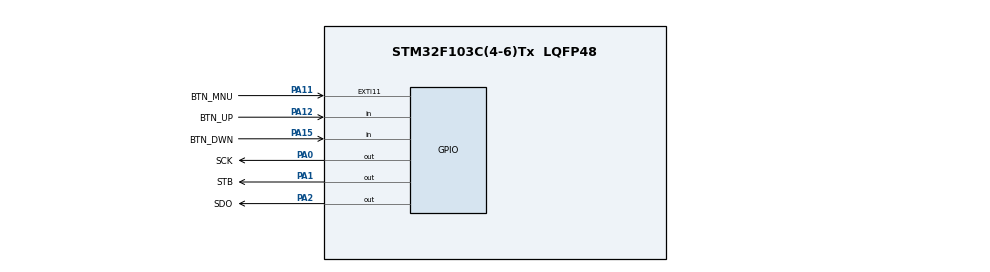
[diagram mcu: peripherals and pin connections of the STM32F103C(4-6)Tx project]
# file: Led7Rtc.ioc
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Mcu.Family=STM32F1
Mcu.Name=STM32F103C(4-6)Tx
Mcu.Package=LQFP48
NVIC.PriorityGroup=NVIC_PRIORITYGROUP_4
PA0-WKUP.GPIO_Label=SCK
PA0-WKUP.GPIO_Speed=GPIO_SPEED_FREQ_HIGH
PA0-WKUP.Signal=GPIO_Output
PA1.GPIO_Label=STB
PA1.GPIO_Speed=GPIO_SPEED_FREQ_HIGH
PA1.Signal=GPIO_Output
PA11.GPIO_Label=BTN_MNU
PA11.GPIO_ModeDefaultEXTI=GPIO_MODE_IT_FALLING
PA11.Signal=GPXTI11
PA12.GPIO_Label=BTN_UP
PA12.Signal=GPIO_Input
PA13.Mode=Serial_Wire
PA13.Signal=SYS_JTMS-SWDIO
PA14.Mode=Serial_Wire
PA14.Signal=SYS_JTCK-SWCLK
PA15.GPIO_Label=BTN_DWN
PA15.Signal=GPIO_Input
PA2.GPIO_Label=SDO
PA2.GPIO_Speed=GPIO_SPEED_FREQ_HIGH
PA2.Signal=GPIO_Output
ProjectManager.HeapSize=0x200
ProjectManager.StackSize=0x400
ProjectManager.TargetToolchain=MDK-ARM V5
RCC.APB1Freq_Value=8000000
RCC.APB2Freq_Value=8000000
RTC.Date=22
RTC.Hours=21
RTC.Minutes=29
RTC.Month=RTC_MONTH_NOVEMBER
RTC.WeekDay=RTC_WEEKDAY_THURSDAY
RTC.Year=18
VP_RTC_VS_RTC_Activate.Mode=RTC_Enabled
VP_RTC_VS_RTC_Calendar.Mode=RTC_Calendar
board=custom

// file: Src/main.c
/**
  ******************************************************************************
  * @file           : main.c
  * @brief          : Main program body
  ******************************************************************************
  ** This notice applies to any and all portions of this file
  * that are not between comment pairs USER CODE BEGIN and
  * USER CODE END. Other portions of this file, whether
  * inserted by the user or by software development tools
  * are owned by their respective copyright owners.
  *
  * COPYRIGHT(c) 2018 STMicroelectronics
  *
  * Redistribution and use in source and binary forms, with or without modification,
  * are permitted provided that the following conditions are met:
  *   1. Redistributions of source code must retain the above copyright notice,
  *      this list of conditions and the following disclaimer.
  *   2. Redistributions in binary form must reproduce the above copyright notice,
  *      this list of conditions and the following disclaimer in the documentation
  *      and/or other materials provided with the distribution.
  *   3. Neither the name of STMicroelectronics nor the names of its contributors
  *      may be used to endorse or promote products derived from this software
  *      without specific prior written permission.
  *
  * THIS SOFTWARE IS PROVIDED BY THE COPYRIGHT HOLDERS AND CONTRIBUTORS "AS IS"
  * AND ANY EXPRESS OR IMPLIED WARRANTIES, INCLUDING, BUT NOT LIMITED TO, THE
  * IMPLIED WARRANTIES OF MERCHANTABILITY AND FITNESS FOR A PARTICULAR PURPOSE ARE
  * DISCLAIMED. IN NO EVENT SHALL THE COPYRIGHT HOLDER OR CONTRIBUTORS BE LIABLE
  * FOR ANY DIRECT, INDIRECT, INCIDENTAL, SPECIAL, EXEMPLARY, OR CONSEQUENTIAL
  * DAMAGES (INCLUDING, BUT NOT LIMITED TO, PROCUREMENT OF SUBSTITUTE GOODS OR
  * SERVICES; LOSS OF USE, DATA, OR PROFITS; OR BUSINESS INTERRUPTION) HOWEVER
  * CAUSED AND ON ANY THEORY OF LIABILITY, WHETHER IN CONTRACT, STRICT LIABILITY,
  * OR TORT (INCLUDING NEGLIGENCE OR OTHERWISE) ARISING IN ANY WAY OUT OF THE USE
  * OF THIS SOFTWARE, EVEN IF ADVISED OF THE POSSIBILITY OF SUCH DAMAGE.
  *
  ******************************************************************************
  */
#include "main.h"
#include "stm32f1xx_hal.h"

RTC_HandleTypeDef hrtc;

/* USER CODE BEGIN PV */
/* Private variables ---------------------------------------------------------*/

/* USER CODE END PV */

void SystemClock_Config(void);
static void MX_GPIO_Init(void);
static void MX_RTC_Init(void);

/* USER CODE BEGIN PFP */
/* Private function prototypes -----------------------------------------------*/
RTC_TimeTypeDef thoiGian;
RTC_DateTypeDef ngayThang;

unsigned char ledCode[10] = {0xC0, 0xF9, 0xA4, 0xB0, 0x99, 0x92, 0x82, 0xF8, 0x80, 0x90};

void serialTransmit(unsigned char _data);
void serialClock(void);
void serialLatch(void);
void display(unsigned char gio, unsigned char phut, unsigned char giay);

/* USER CODE END PFP */

/* USER CODE BEGIN 0 */

void serialTransmit(unsigned char _data)
{
  unsigned char i, temp;
  temp = _data;
  for(i = 0; i<8; i++)
  {
    if(temp & 0x80)
      HAL_GPIO_WritePin(SDO_GPIO_Port, SDO_Pin, 1); // SDO = 1
    else
      HAL_GPIO_WritePin(SDO_GPIO_Port, SDO_Pin, 0); // SDO = 0

    serialClock();
    temp = temp << 1;
  }
}

void serialClock(void)
{
  HAL_GPIO_WritePin(SCK_GPIO_Port, SCK_Pin, 1);
  HAL_Delay(1);
  HAL_GPIO_WritePin(SCK_GPIO_Port, SCK_Pin, 0);
}

void serialLatch(void)
{
  HAL_GPIO_WritePin(STB_GPIO_Port, STB_Pin, 1);
  HAL_Delay(1);
  HAL_GPIO_WritePin(STB_GPIO_Port, STB_Pin, 0);
}

void display(unsigned char gio, unsigned char phut, unsigned char giay)
{
  unsigned char gio_ch, gio_dv;
  unsigned char phut_ch, phut_dv;
  unsigned char giay_ch, giay_dv;

  gio_ch = gio / 10;
  gio_dv = gio % 10;

  phut_ch = phut / 10;
  phut_dv = phut % 10;

  giay_ch = giay / 10;
  giay_dv = giay % 10;

  serialTransmit(ledCode[giay_dv]);
  serialTransmit(ledCode[giay_ch]);

  serialTransmit(ledCode[phut_dv]);
  serialTransmit(ledCode[phut_ch]);

  serialTransmit(ledCode[gio_dv]);
  serialTransmit(ledCode[gio_ch]);

  serialLatch();
}

/* USER CODE END 0 */

int main(void)
{

  /* MCU Configuration----------------------------------------------------------*/

  /* Reset of all peripherals, Initializes the Flash interface and the Systick. */
  HAL_Init();

  /* Configure the system clock */
  SystemClock_Config();

  /* Initialize all configured peripherals */
  MX_GPIO_Init();
  MX_RTC_Init();

  /* Infinite loop */
  /* USER CODE BEGIN WHILE */
  while (1)
  {
    HAL_RTC_GetTime(&hrtc, &thoiGian, RTC_FORMAT_BIN);
    HAL_RTC_GetDate(&hrtc, &ngayThang, RTC_FORMAT_BIN);

    display(thoiGian.Hours, thoiGian.Minutes, thoiGian.Seconds);
    HAL_Delay(200);
  /* USER CODE END WHILE */

  }

}

void SystemClock_Config(void)
{

  RCC_OscInitTypeDef RCC_OscInitStruct;
  RCC_ClkInitTypeDef RCC_ClkInitStruct;
  RCC_PeriphCLKInitTypeDef PeriphClkInit;

    /**Initializes the CPU, AHB and APB busses clocks
    */
  RCC_OscInitStruct.OscillatorType = RCC_OSCILLATORTYPE_HSI|RCC_OSCILLATORTYPE_LSI;
  RCC_OscInitStruct.HSIState = RCC_HSI_ON;
  RCC_OscInitStruct.HSICalibrationValue = 16;
  RCC_OscInitStruct.LSIState = RCC_LSI_ON;
  RCC_OscInitStruct.PLL.PLLState = RCC_PLL_NONE;
  if (HAL_RCC_OscConfig(&RCC_OscInitStruct) != HAL_OK)
  {
    _Error_Handler(__FILE__, __LINE__);
  }

    /**Initializes the CPU, AHB and APB busses clocks
    */
  RCC_ClkInitStruct.ClockType = RCC_CLOCKTYPE_HCLK|RCC_CLOCKTYPE_SYSCLK
                              |RCC_CLOCKTYPE_PCLK1|RCC_CLOCKTYPE_PCLK2;
  RCC_ClkInitStruct.SYSCLKSource = RCC_SYSCLKSOURCE_HSI;
  RCC_ClkInitStruct.AHBCLKDivider = RCC_SYSCLK_DIV1;
  RCC_ClkInitStruct.APB1CLKDivider = RCC_HCLK_DIV1;
  RCC_ClkInitStruct.APB2CLKDivider = RCC_HCLK_DIV1;

  if (HAL_RCC_ClockConfig(&RCC_ClkInitStruct, FLASH_LATENCY_0) != HAL_OK)
  {
    _Error_Handler(__FILE__, __LINE__);
  }

  PeriphClkInit.PeriphClockSelection = RCC_PERIPHCLK_RTC;
  PeriphClkInit.RTCClockSelection = RCC_RTCCLKSOURCE_LSI;
  if (HAL_RCCEx_PeriphCLKConfig(&PeriphClkInit) != HAL_OK)
  {
    _Error_Handler(__FILE__, __LINE__);
  }

    /**Configure the Systick interrupt time
    */
  HAL_SYSTICK_Config(HAL_RCC_GetHCLKFreq()/1000);

    /**Configure the Systick
    */
  HAL_SYSTICK_CLKSourceConfig(SYSTICK_CLKSOURCE_HCLK);

  /* SysTick_IRQn interrupt configuration */
  HAL_NVIC_SetPriority(SysTick_IRQn, 0, 0);
}

/* RTC init function */
static void MX_RTC_Init(void)
{

  RTC_TimeTypeDef sTime;
  RTC_DateTypeDef DateToUpdate;

    /**Initialize RTC Only
    */
  hrtc.Instance = RTC;
  hrtc.Init.AsynchPrediv = RTC_AUTO_1_SECOND;
  hrtc.Init.OutPut = RTC_OUTPUTSOURCE_ALARM;
  if (HAL_RTC_Init(&hrtc) != HAL_OK)
  {
    _Error_Handler(__FILE__, __LINE__);
  }

    /**Initialize RTC and set the Time and Date
    */
  sTime.Hours = 0x21;
  sTime.Minutes = 0x29;
  sTime.Seconds = 0x0;

  if (HAL_RTC_SetTime(&hrtc, &sTime, RTC_FORMAT_BCD) != HAL_OK)
  {
    _Error_Handler(__FILE__, __LINE__);
  }

  DateToUpdate.WeekDay = RTC_WEEKDAY_THURSDAY;
  DateToUpdate.Month = RTC_MONTH_NOVEMBER;
  DateToUpdate.Date = 0x22;
  DateToUpdate.Year = 0x18;

  if (HAL_RTC_SetDate(&hrtc, &DateToUpdate, RTC_FORMAT_BCD) != HAL_OK)
  {
    _Error_Handler(__FILE__, __LINE__);
  }

}

/** Configure pins as
        * Analog
        * Input
        * Output
        * EVENT_OUT
        * EXTI
*/
static void MX_GPIO_Init(void)
{

  GPIO_InitTypeDef GPIO_InitStruct;

  /* GPIO Ports Clock Enable */
  __HAL_RCC_GPIOA_CLK_ENABLE();

  /*Configure GPIO pin Output Level */
  HAL_GPIO_WritePin(GPIOA, SCK_Pin|STB_Pin|SDO_Pin, GPIO_PIN_RESET);

  /*Configure GPIO pins : SCK_Pin STB_Pin SDO_Pin */
  GPIO_InitStruct.Pin = SCK_Pin|STB_Pin|SDO_Pin;
  GPIO_InitStruct.Mode = GPIO_MODE_OUTPUT_PP;
  GPIO_InitStruct.Pull = GPIO_NOPULL;
  GPIO_InitStruct.Speed = GPIO_SPEED_FREQ_HIGH;
  HAL_GPIO_Init(GPIOA, &GPIO_InitStruct);

  /*Configure GPIO pin : BTN_MNU_Pin */
  GPIO_InitStruct.Pin = BTN_MNU_Pin;
  GPIO_InitStruct.Mode = GPIO_MODE_IT_FALLING;
  GPIO_InitStruct.Pull = GPIO_NOPULL;
  HAL_GPIO_Init(BTN_MNU_GPIO_Port, &GPIO_InitStruct);

  /*Configure GPIO pins : BTN_UP_Pin BTN_DWN_Pin */
  GPIO_InitStruct.Pin = BTN_UP_Pin|BTN_DWN_Pin;
  GPIO_InitStruct.Mode = GPIO_MODE_INPUT;
  GPIO_InitStruct.Pull = GPIO_NOPULL;
  HAL_GPIO_Init(GPIOA, &GPIO_InitStruct);

}

void _Error_Handler(char *file, int line)
{
  while(1)
  {
  }
}

/************************ (C) COPYRIGHT STMicroelectronics *****END OF FILE****/
